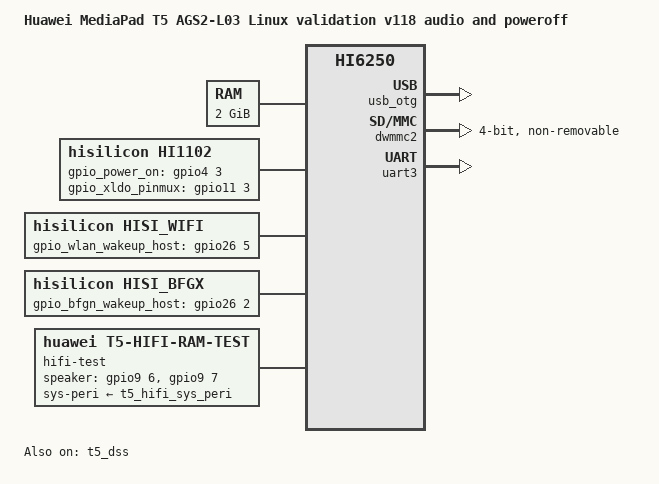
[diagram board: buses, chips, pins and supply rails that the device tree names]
// SPDX-License-Identifier: GPL-2.0-only
/* Experimental RAM-only board: AGS2-L03, 2 GiB. Assisted-by: Codex. */
/dts-v1/;
#include "hi6250.dtsi"
#include <dt-bindings/gpio/gpio.h>
/ {
    model = "Huawei MediaPad T5 AGS2-L03 Linux validation v118 audio and poweroff";
    compatible = "huawei,agassi2", "hisilicon,hi6250";
    chassis-type = "tablet";
    memory@400000 {
        device_type = "memory";
        reg = <0 0x00400000 0 0x3fc00000>, <0 0x40000000 0 0x40000000>;
    };
    chosen {
        bootargs = "console=tty0 console=ttyGS0,115200 loglevel=8 ignore_loglevel keep_bootcon printk.time=1 log_buf_len=1M clk_ignore_unused pd_ignore_unused nokaslr cpuidle.off=1 maxcpus=8 fbcon=rotate:1 cma=96M systemd.gpt_auto=no systemd.swap=no systemd.show_status=0 systemd.log_target=kmsg panic=0 rdinit=/init";
        #address-cells = <2>; #size-cells = <2>; ranges;
        stdout-path = "framebuffer0";
        framebuffer0: framebuffer@5d000000 {
            huawei,t5-clockwise-scanout;
            compatible = "simple-framebuffer";
            reg = <0 0x5d000000 0 0x8ca000>;
            width = <1200>; height = <1920>; stride = <4800>;
            format = "a8r8g8b8"; status = "okay";
        };
    };
    reserved-memory {
        #address-cells = <2>; #size-cells = <2>; ranges;
        /* v105 RAM-only reclaim experiment; active secure/firmware ranges retained. */
        modem_retained@38000000 { reg = <0 0x38000000 0 0x7100000>; };
        retained0@7b00000 { reg = <0 0x7b00000 0 0x8000>; no-map; };
        retained1@e000000 { reg = <0 0xe000000 0 0x1000>; no-map; };
        retained2@34000000 { reg = <0 0x34000000 0 0x800000>; no-map; };
        retained3@34900000 { reg = <0 0x34900000 0 0x220000>; no-map; };
        retained4@34f00000 { reg = <0 0x34f00000 0 0xfc0000>; no-map; };
        retained5@36000000 { reg = <0 0x36000000 0 0x2000000>; no-map; };
        retained6@47b00000 { reg = <0 0x47b00000 0 0x8000>; no-map; };

        framebuffer_reserved: framebuffer@5d000000 {
            reg = <0 0x5d000000 0 0x00c00000>; no-map;
        };
        framebuffer_tail@5dc00000 { reg = <0 0x5dc00000 0 0x02400000>; };
        ramoops@34800000 {
            compatible = "ramoops";
            reg = <0 0x34800000 0 0x100000>;
            record-size = <0x20000>; console-size = <0x80000>;
            pmsg-size = <0x20000>; ftrace-size = <0>;
        };
    };
};
&usb_otg {
    status = "okay";
    hisilicon,eye-diagram-param = <0x059066db>;
};
/* Storage controllers stay disabled; MMC support is also omitted in Kconfig. */

/ { psci {
        compatible = "arm,psci";
        method = "smc";
        cpu_suspend = <0xc4000001>;
        cpu_off = <0x84000002>;
        cpu_on = <0xc4000003>;
    /delete-property/ system_off;
    /delete-property/ system_reset;
}; };

&usb_dwc2 {
    g-rx-fifo-size = <512>;
    g-np-tx-fifo-size = <128>;
    g-tx-fifo-size = <128 128 128 128 128 128 16 16 16 16 16 16 16 16 16>;
};

#include "hi6250-t5-cpu.dtsi"

#include "hi6250-t5-gpu.dtsi"

#include "hi6250-t5-battery.dtsi"

#include "hi6250-t5-sd.dtsi"

#include "hi6250-t5-touch.dtsi"

#include "hi6250-t5-emmc.dtsi"

&{/soc} {
 t5_dss: display@e8600000 {
  compatible = "huawei,ags2l03-dss";
  reg = <0 0xe8600000 0 0x80000>;
  interrupts = <GIC_SPI 245 IRQ_TYPE_LEVEL_HIGH>;
  status = "okay";
 };
};

/ { tee-probe { compatible = "huawei,ags2l03-tee-probe"; }; };

&cpu_opp_table_0 { /delete-node/ opp1; /delete-node/ opp2; opp3 { opp-hz = /bits/ 64 <1709000000>; }; };

/* Daily CPU endpoints, firmware rail first, then bounded PLL feedback. */
&cpu_opp_table_0 { opp3 { opp-hz = /bits/ 64 <1900000000>; }; };
&cpu_opp_table_1 { opp4 { opp-hz = /bits/ 64 <2570000000>; }; };

&gpio4 { status = "okay"; };
&gpio11 { status = "okay"; };
&pmx0 {
 wifi_mux74: wifi-enum-mux { pinctrl-single,pins = <0xe8 1 0xec 1 0xf0 1 0xf4 1 0xf8 1 0xfc 1 0x160 0>; };
};
&dwmmc2 {
 compatible = "huawei,ags2l03-sdio-enum";
 status = "okay";
 clocks = <&crg_ctrl HI6250_CLK_SDIO0>, <&crg_ctrl HI6250_HCLK_SDIO0>, <&pmu_ctrl HI6250_CLK_PMU32KB>;
 clock-names = "ciu", "biu", "wifi-ref";
 pinctrl-names = "default"; pinctrl-0 = <&wifi_mux74>;
 wifi-enable-gpios = <&gpio4 3 0>; xldo-gpios = <&gpio11 3 0>;
 bus-width = <4>; fifo-depth = <256>; non-removable; no-mmc; no-sd;
 max-frequency = <25000000>; cap-sdio-irq; voltage-ranges = <1650 1950>;
};

/ {
    hw_connectivity { compatible = "huawei,hw_connectivity"; chip_type = "hisi"; };
    hi1102 {
        compatible = "hisilicon,hi1102";
        clocks = <&pmu_ctrl HI6250_CLK_PMU32KB>;
        clock-names = "clk_pmu32kb";
        huawei,pmu_clk32b = "pmu_clk32kb";
        hi1102,gpio_power_on = <&gpio4 3 0>;
        hi1102,gpio_xldo_pinmux = <&gpio11 3 0>;
        hi1102,asic_version; hi1102,power_prepare;
        xldo_gpio_level = <1>;
        pinctrl-names = "default", "idle";
        pinctrl-0 = <&radio_default76>; pinctrl-1 = <&radio_idle76>;
    };
    hi1102_custom { compatible = "hi1102,customize"; ini_file_name = "/vendor/etc/cfg_ags2_l03_hisi.ini"; };
    hisi_wifi { compatible = "hisilicon,hisi_wifi"; hi1102,gpio_wlan_wakeup_host = <&gpio26 5 0>; };
    hisi_bfgx { compatible = "hisilicon,hisi_bfgx"; hi1102,gpio_bfgn_wakeup_host = <&gpio26 2 0>; hi1102,uart_port = "/dev/ttyAMA3"; };
};
&gpio26 { status = "okay"; };
&pmx0 {
    radio_default76: radio-default { pinctrl-single,pins = <0x15c 1 0x160 1 0x164 1>; };
    radio_idle76: radio-idle { pinctrl-single,pins = <0x15c 0 0x160 0 0x164 0>; };
    sdio_bus76: sdio-bus { pinctrl-single,pins = <0xe8 1 0xec 1 0xf0 1 0xf4 1 0xf8 1 0xfc 1>; };
};
&dwmmc2 { pinctrl-0 = <&sdio_bus76>; };

/ { aliases { serial3 = &uart3; }; };
&pmx0 {
 t5_bt_uart_mux: bt-uart3-mux { pinctrl-single,pins = <0x110 1 0x114 1 0x118 1 0x11c 1>; };
};
&uart3 {
 status = "okay"; pinctrl-names = "default"; pinctrl-0 = <&t5_bt_uart_mux>;
 /delete-property/ dmas; /delete-property/ dma-names;
};

/ { hifi-test { compatible = "huawei,t5-hifi-ram-test"; mboxes = <&mailbox 18 4 1>; interrupt-parent = <&gic>; interrupts = <0 199 4>; speaker-gpios = <&gpio9 6 0>, <&gpio9 7 0>; clocks = <&crg_ctrl HI6250_CLK_MODEM2CODEC0>, <&sys_ctrl HI6250_CLK_ASPCODEC>; clock-names = "modem", "codec"; }; };

&gpio9 { status = "okay"; };
/* AGS2-L03 sys_peri uses the existing exclusive LPM3 channel 14. */
&t5_gpu_supply {
	t5_hifi_sys_peri: sys-peri {
		regulator-name = "sys_peri";
	};
};

&{/hifi-test} {
	sys-peri-supply = <&t5_hifi_sys_peri>;
};

#include "hi6250-t5-sleep-power.dtsi"

#include "t5-backlight.dtsi"

&dwmmc2 { keep-power-in-suspend; };

#include "hi6250-t5-volume.dtsi"

&hi6250_reboot {
    powerhold-gpios = <&gpio25 4 GPIO_ACTIVE_LOW>;
};
